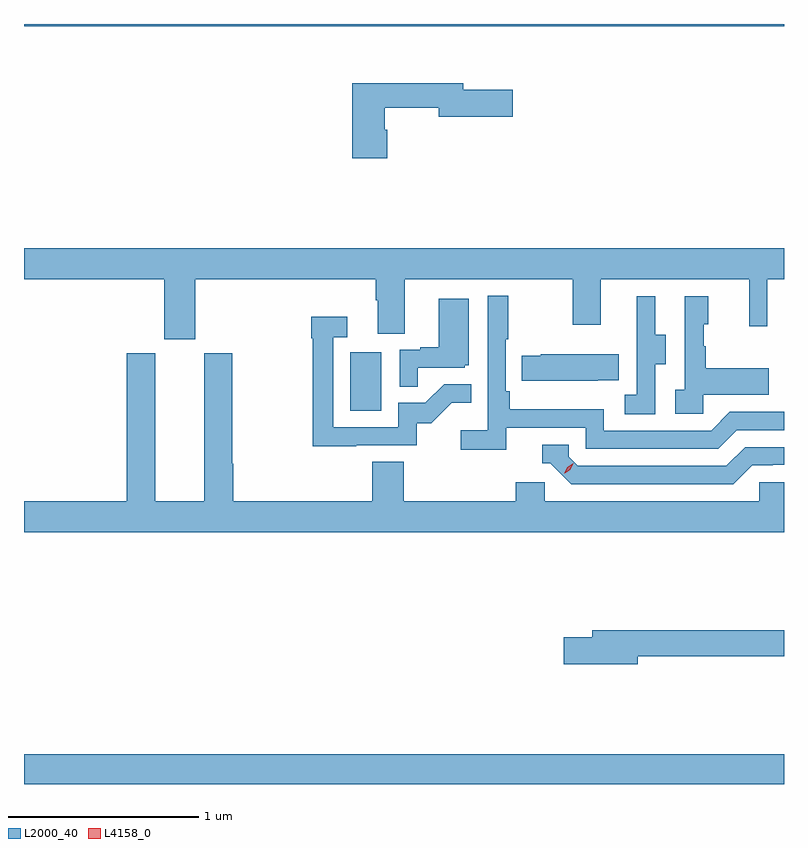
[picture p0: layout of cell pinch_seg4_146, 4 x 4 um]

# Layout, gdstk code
import gdstk
lib = gdstk.Library(unit=1e-6, precision=1e-09)
def R(c, l, rs):  # rectangles x0, y0, x1, y1
    for r in rs: c.add(gdstk.rectangle(r[:2], r[2:], *l))
def P(c, l, *ps):  # polygons
    for p in ps: c.add(gdstk.Polygon(p, *l))
L2000_40 = (2000, 40)
L4158_0 = (4158, 0)

pinch_seg4_146 = lib.new_cell('pinch_seg4_146')
R(pinch_seg4_146, L2000_40, [(1088.678,808.815,1092.678,808.972), (1090.394,810.78,1090.558,811.087), (1088.678,812.804,1092.678,812.815)])
P(pinch_seg4_146, L2000_40, [(1090.589,812.259),(1090.576,812.259),(1090.576,812.374),(1090.862,812.374),(1090.862,812.327),(1091.251,812.327),(1091.251,812.469),(1090.99,812.469),(1090.99,812.503),(1090.406,812.503),(1090.406,812.109),(1090.589,812.109)],
  [(1089.58,811.472),(1090.529,811.472),(1090.529,811.36),(1090.541,811.36),(1090.541,811.186),(1090.681,811.186),(1090.681,811.472),(1091.566,811.472),(1091.566,811.233),(1091.713,811.233),(1091.713,811.472),(1092.494,811.472),(1092.494,811.224),(1092.591,811.224),(1092.591,811.472),(1092.678,811.472),(1092.678,811.636),(1088.678,811.636),(1088.678,811.472),(1089.416,811.472),(1089.416,811.155),(1089.58,811.155)],
  [(1091.216,810.69),(1091.634,810.69),(1091.634,810.579),(1092.331,810.579),(1092.43,810.678),(1092.678,810.678),(1092.678,810.774),(1092.393,810.774),(1092.294,810.675),(1091.73,810.675),(1091.73,810.787),(1091.234,810.787),(1091.234,810.883),(1091.214,810.883),(1091.214,811.156),(1091.227,811.156),(1091.227,811.384),(1091.118,811.384),(1091.118,810.676),(1090.977,810.676),(1090.977,810.574),(1091.216,810.574)],
  [(1092.252,810.863),(1092.599,810.863),(1092.599,811.003),(1092.265,811.003),(1092.265,811.118),(1092.255,811.118),(1092.255,811.236),(1092.28,811.236),(1092.28,811.381),(1092.156,811.381),(1092.156,810.89),(1092.105,810.89),(1092.105,810.765),(1092.252,810.765)],
  [(1092,811.024),(1092.055,811.024),(1092.055,811.179),(1092.001,811.179),(1092.001,811.381),(1091.903,811.381),(1091.903,811.167),(1091.904,811.167),(1091.904,810.863),(1091.841,810.863),(1091.841,810.76),(1092,810.76)],
  [(1090.751,811.005),(1090.998,811.005),(1090.998,811.02),(1091.02,811.02),(1091.02,811.369),(1090.862,811.369),(1090.862,811.114),(1090.763,811.114),(1090.763,811.101),(1090.656,811.101),(1090.656,810.907),(1090.751,810.907)],
  [(1090.427,810.597),(1090.746,810.597),(1090.746,810.714),(1090.822,810.714),(1090.929,810.821),(1091.033,810.821),(1091.033,810.92),(1090.889,810.92),(1090.791,810.822),(1090.647,810.822),(1090.647,810.693),(1090.305,810.693),(1090.305,811.167),(1090.378,811.167),(1090.378,811.273),(1090.189,811.273),(1090.189,811.16),(1090.197,811.16),(1090.197,810.592),(1090.427,810.592)],
  [(1092.678,810.402),(1092.549,810.402),(1092.549,810.304),(1091.418,810.304),(1091.418,810.402),(1091.267,810.402),(1091.267,810.304),(1090.676,810.304),(1090.676,810.512),(1090.511,810.512),(1090.511,810.304),(1089.779,810.304),(1089.779,810.5),(1089.774,810.5),(1089.774,811.083),(1089.626,811.083),(1089.626,810.304),(1089.37,810.304),(1089.37,811.083),(1089.218,811.083),(1089.218,810.304),(1088.678,810.304),(1088.678,810.14),(1092.678,810.14)],
  [(1091.699,810.941),(1091.807,810.941),(1091.807,811.078),(1091.397,811.078),(1091.397,811.068),(1091.299,811.068),(1091.299,810.938),(1091.699,810.938)],
  [(1092.511,810.492),(1092.618,810.492),(1092.618,810.495),(1092.678,810.495),(1092.678,810.588),(1092.474,810.588),(1092.375,810.489),(1091.592,810.489),(1091.544,810.537),(1091.544,810.6),(1091.405,810.6),(1091.405,810.504),(1091.448,810.504),(1091.559,810.393),(1092.412,810.393)],
  [(1091.908,809.488),(1092.678,809.488),(1092.678,809.624),(1091.669,809.624),(1091.669,809.588),(1091.52,809.588),(1091.52,809.446),(1091.908,809.446)])
P(pinch_seg4_146, L4158_0, [(1091.522,810.45),(1091.522,810.45),(1091.538,810.482),(1091.568,810.502),(1091.569,810.502),(1091.569,810.502),(1091.553,810.469),(1091.523,810.45)])

lib.write_gds('pinch_seg4_146.gds')
